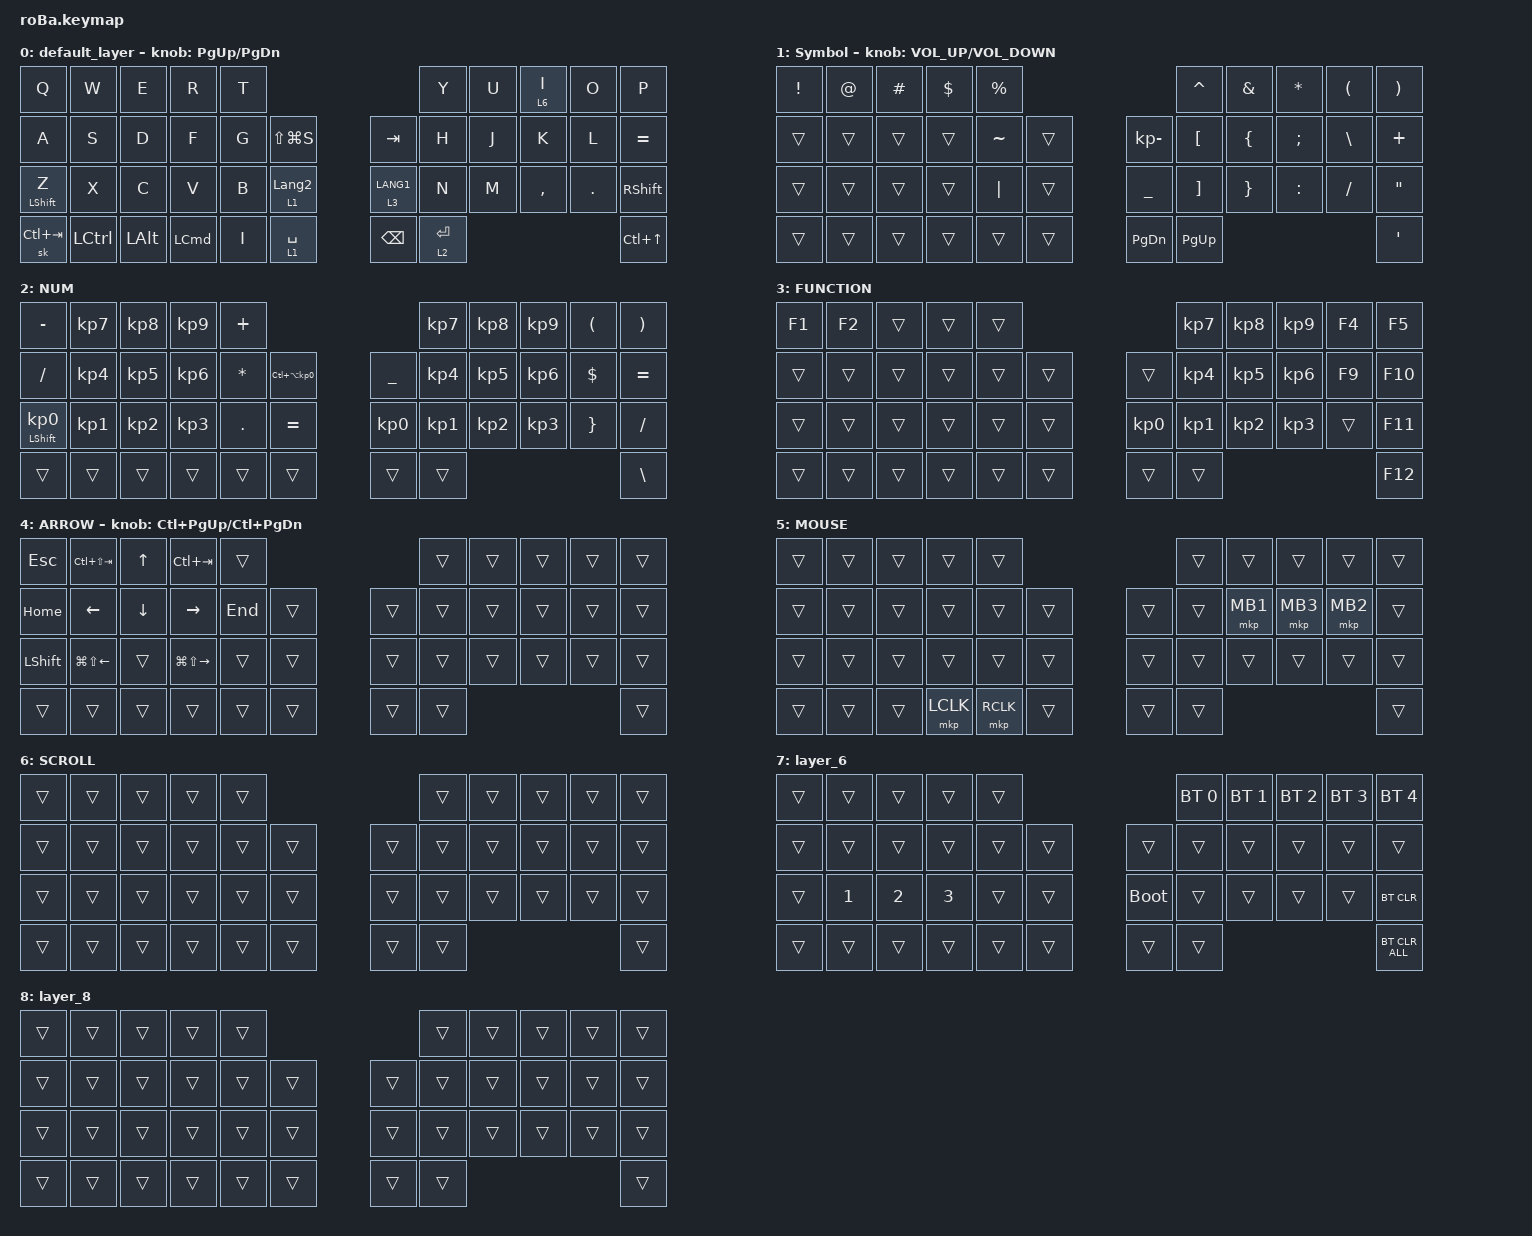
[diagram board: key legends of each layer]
#include <behaviors.dtsi>
#include <dt-bindings/zmk/bt.h>
#include <dt-bindings/zmk/keys.h>
#include <dt-bindings/zmk/pointing.h>

&mt {
    flavor = "balanced";
    quick-tap-ms = <0>;
};

/ {
    combos {
        compatible = "zmk,combos";

        tab {
            bindings = <&kp TAB>;
            key-positions = <11 12>;
        };

        shift_tab {
            bindings = <&kp LS(TAB)>;
            key-positions = <12 13>;
        };

        muhennkann {
            bindings = <&to_layer_0 INT_MUHENKAN>;
            key-positions = <11 10>;
        };

        double_quotation {
            bindings = <&kp DOUBLE_QUOTES>;
            key-positions = <20 21>;
        };

        eq {
            bindings = <&kp EQUAL>;
            key-positions = <24 25>;
        };
    };

    macros {
        to_layer_0: to_layer_0 {
            compatible = "zmk,behavior-macro-one-param";
            #binding-cells = <1>;
            bindings = <&to 0 &macro_param_1to1 &kp MACRO_PLACEHOLDER>;
            label = "TO_LAYER_0";
        };
    };

    behaviors {
        lt_to_layer_0: lt_to_layer_0 {
            compatible = "zmk,behavior-hold-tap";
            label = "LAYER_TAP_TO_0";
            bindings = <&mo>, <&to_layer_0>;

            #binding-cells = <2>;
            tapping-term-ms = <200>;
        };
    };

    keymap {
        compatible = "zmk,keymap";

        default_layer {
            bindings = <
&kp Q             &kp W      &kp E         &kp R             &kp T                                             &kp Y        &kp U  &lt 6 I    &kp O    &kp P
&kp A             &kp S      &kp D         &kp F             &kp G  &kp LS(LG(S))               &kp TAB        &kp H        &kp J  &kp K      &kp L    &kp EQUAL
&mt LEFT_SHIFT Z  &kp X      &kp C         &kp V             &kp B  &lt 1 LANGUAGE_2            &lt 3 LANG1    &kp N        &kp M  &kp COMMA  &kp DOT  &kp RIGHT_SHIFT
&sk LC(TAB)       &kp LCTRL  &kp LEFT_ALT  &kp LEFT_COMMAND  &kp I  &lt_to_layer_0 1 SPACE      &kp BACKSPACE  &lt 2 ENTER                             &kp LC(UP_ARROW)
            >;

            sensor-bindings = <&inc_dec_kp PG_UP PAGE_DOWN>;
        };

        Symbol {
            bindings = <
&kp EXCLAMATION  &kp AT_SIGN  &kp HASH  &kp DOLLAR  &kp PERCENT                             &kp CARET          &kp AMPERSAND    &kp ASTRK      &kp LEFT_PARENTHESIS  &kp RIGHT_PARENTHESIS
&trans           &trans       &trans    &trans      &kp TILDE    &trans      &kp KP_MINUS   &kp LEFT_BRACKET   &kp LEFT_BRACE   &kp SEMICOLON  &kp BACKSLASH         &kp PLUS
&trans           &trans       &trans    &trans      &kp PIPE     &trans      &kp UNDER      &kp RIGHT_BRACKET  &kp RIGHT_BRACE  &kp COLON      &kp SLASH             &kp DOUBLE_QUOTES
&trans           &trans       &trans    &trans      &trans       &trans      &kp PAGE_DOWN  &kp PAGE_UP                                                              &kp APOSTROPHE
            >;

            sensor-bindings = <&inc_dec_kp C_VOLUME_UP C_VOLUME_DOWN>;
        };

        NUM {
            bindings = <
&kp MINUS                   &kp KP_NUMBER_7  &kp KP_NUMBER_8  &kp KP_NUMBER_9  &kp PLUS                                                   &kp KP_N7        &kp KP_N8  &kp KP_N9        &kp LEFT_PARENTHESIS  &kp RIGHT_PARENTHESIS
&kp SLASH                   &kp KP_NUMBER_4  &kp KP_NUMBER_5  &kp KP_NUMBER_6  &kp ASTERISK  &kp LC(LA(KP_NUMBER_0))      &kp UNDERSCORE  &kp KP_N4        &kp KP_N5  &kp KP_N6        &kp DOLLAR            &kp EQUAL
&mt LEFT_SHIFT KP_NUMBER_0  &kp KP_NUMBER_1  &kp KP_NUMBER_2  &kp KP_NUMBER_3  &kp PERIOD    &kp EQUAL                    &kp KP_N0       &kp KP_NUMBER_1  &kp KP_N2  &kp KP_NUMBER_3  &kp RIGHT_BRACE       &kp SLASH
&trans                      &trans           &trans           &trans           &trans        &trans                       &trans          &trans                                                             &kp BACKSLASH
            >;
        };

        FUNCTION {
            bindings = <
&kp F1  &kp F2  &trans  &trans  &trans                         &kp KP_N7  &kp KP_N8        &kp KP_N9  &kp F4  &kp F5
&trans  &trans  &trans  &trans  &trans  &trans      &trans     &kp KP_N4  &kp KP_N5        &kp KP_N6  &kp F9  &kp F10
&trans  &trans  &trans  &trans  &trans  &trans      &kp KP_N0  &kp KP_N1  &kp KP_NUMBER_2  &kp KP_N3  &trans  &kp F11
&trans  &trans  &trans  &trans  &trans  &trans      &trans     &trans                                         &kp F12
            >;
        };

        ARROW {
            bindings = <
&kp ESCAPE      &kp LC(LS(TAB))         &kp UP_ARROW    &kp LC(TAB)              &trans                       &trans  &trans  &trans  &trans  &trans
&kp HOME        &kp LEFT_ARROW          &kp DOWN_ARROW  &kp RIGHT_ARROW          &kp END  &trans      &trans  &trans  &trans  &trans  &trans  &trans
&kp LEFT_SHIFT  &kp LG(LS(LEFT_ARROW))  &trans          &kp LG(LS(RIGHT_ARROW))  &trans   &trans      &trans  &trans  &trans  &trans  &trans  &trans
&trans          &trans                  &trans          &trans                   &trans   &trans      &trans  &trans                          &trans
            >;

            sensor-bindings = <&inc_dec_kp LC(PAGE_UP) LC(PAGE_DOWN)>;
        };

        MOUSE {
            bindings = <
&trans  &trans  &trans  &trans     &trans                         &trans  &trans    &trans    &trans    &trans
&trans  &trans  &trans  &trans     &trans     &trans      &trans  &trans  &mkp MB1  &mkp MB3  &mkp MB2  &trans
&trans  &trans  &trans  &trans     &trans     &trans      &trans  &trans  &trans    &trans    &trans    &trans
&trans  &trans  &trans  &mkp LCLK  &mkp RCLK  &trans      &trans  &trans                                &trans
            >;
        };

        SCROLL {
            bindings = <
&trans  &trans  &trans  &trans  &trans                      &trans  &trans  &trans  &trans  &trans
&trans  &trans  &trans  &trans  &trans  &trans      &trans  &trans  &trans  &trans  &trans  &trans
&trans  &trans  &trans  &trans  &trans  &trans      &trans  &trans  &trans  &trans  &trans  &trans
&trans  &trans  &trans  &trans  &trans  &trans      &trans  &trans                          &trans
            >;
        };

        layer_6 {
            bindings = <
&trans  &trans        &trans        &trans        &trans                           &bt BT_SEL 0  &bt BT_SEL 1  &bt BT_SEL 2  &bt BT_SEL 3  &bt BT_SEL 4
&trans  &trans        &trans        &trans        &trans  &trans      &trans       &trans        &trans        &trans        &trans        &trans
&trans  &kp NUMBER_1  &kp NUMBER_2  &kp NUMBER_3  &trans  &trans      &bootloader  &trans        &trans        &trans        &trans        &bt BT_CLR
&trans  &trans        &trans        &trans        &trans  &trans      &trans       &trans                                                  &bt BT_CLR_ALL
            >;
        };

        layer_8 {
            bindings = <
&trans  &trans  &trans  &trans  &trans                      &trans  &trans  &trans  &trans  &trans
&trans  &trans  &trans  &trans  &trans  &trans      &trans  &trans  &trans  &trans  &trans  &trans
&trans  &trans  &trans  &trans  &trans  &trans      &trans  &trans  &trans  &trans  &trans  &trans
&trans  &trans  &trans  &trans  &trans  &trans      &trans  &trans                          &trans
            >;
        };
    };
};
